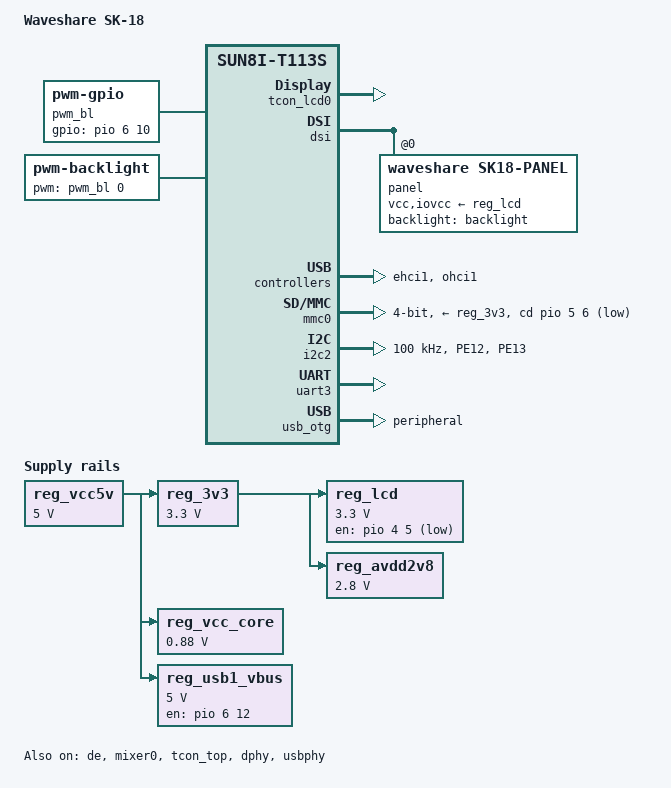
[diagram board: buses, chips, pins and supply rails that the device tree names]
// SPDX-License-Identifier: (GPL-2.0+ OR MIT)
/*
 * Waveshare SK-18 (Allwinner T113-S3, 128 MiB DDR3 in the package, SD card boot).
 *
 * First bring-up version: console, SD card, USB (device port and host port). Display, touch,
 * audio and the rest are added from evidence in later steps.
 *
 * Provenance of each statement:
 *  - UART3 on PB6/PB7 as the console, SD card on mmc0 with card detect PF6 (active low), USB OTG
 *    as peripheral, USB host 1 (ehci1/ohci1): all CONFIRMED by the original board DTB
 *    (docs/phase2-image-analysis.md) and by the vendor boot0 (debug UART port 3).
 *  - The fixed supply rails and the 4-bit SD bus are ASSUMED from the MangoPi MQ-R reference
 *    design that shares the SoC package; the original DTB has no PMIC, only fixed 1.8 V / 3.3 V
 *    rails. They must be checked against the schematic before any voltage is trusted.
 */

/dts-v1/;

#include <dt-bindings/gpio/gpio.h>

/* Buildroot copies this file to arch/arm/boot/dts/; the Allwinner includes live in allwinner/. */
#include "allwinner/sun8i-t113s.dtsi"

/ {
	model = "Waveshare SK-18";
	compatible = "waveshare,sk18", "allwinner,sun8i-t113s";

	aliases {
		serial3 = &uart3;
	};

	chosen {
		stdout-path = "serial3:115200n8";
	};

	/*
	 * Backlight. The original uses hardware PWM channel 3 on PG10 at 1 kHz, but Linux 7.3.1 has no
	 * driver for the T113 PWM block. Interim: a software PWM on the same pin (pwm-gpio, hrtimer).
	 */
	pwm_bl: pwm {
		compatible = "pwm-gpio";
		#pwm-cells = <3>;
		gpios = <&pio 6 10 GPIO_ACTIVE_HIGH>; /* PG10, CONFIRMED by the original DTB (pwm3) */
	};

	backlight: backlight {
		compatible = "pwm-backlight";
		pwms = <&pwm_bl 0 1000000 0>; /* 1 kHz, normal polarity, as the original */
		brightness-levels = <0 255>;
		num-interpolated-steps = <255>;
		default-brightness-level = <128>; /* the original default is 50 % */
	};

	/* ASSUMED: board wide 5 V from the USB-C socket */
	reg_vcc5v: regulator-5v {
		compatible = "regulator-fixed";
		regulator-name = "vcc-5v";
		regulator-min-microvolt = <5000000>;
		regulator-max-microvolt = <5000000>;
		regulator-always-on;
	};

	/* ASSUMED: 3.3 V rail */
	reg_3v3: regulator-3v3 {
		compatible = "regulator-fixed";
		regulator-name = "vcc-3v3";
		regulator-min-microvolt = <3300000>;
		regulator-max-microvolt = <3300000>;
		vin-supply = <&reg_vcc5v>;
	};

	/* ASSUMED: fixed core rail, as on the MQ-R (no PMIC to scale it) */
	reg_vcc_core: regulator-core {
		compatible = "regulator-fixed";
		regulator-name = "vcc-core";
		regulator-min-microvolt = <880000>;
		regulator-max-microvolt = <880000>;
		vin-supply = <&reg_vcc5v>;
	};

	/* ASSUMED: 2.8 V analog rail feeding bank E, as on the MQ-R */
	/*
	 * VBUS of the internal USB host port (ehci1/ohci1) on PG12. CONFIRMED by the stock system: the kernel
	 * claims PG12 as "usb1-vbus", output, high (docs/hardware-status.md). Kept on, as stock does.
	 */
	reg_usb1_vbus: regulator-usb1-vbus {
		compatible = "regulator-fixed";
		regulator-name = "usb1-vbus";
		regulator-min-microvolt = <5000000>;
		regulator-max-microvolt = <5000000>;
		vin-supply = <&reg_vcc5v>;
		gpio = <&pio 6 12 GPIO_ACTIVE_HIGH>;
		enable-active-high;
		regulator-always-on;
	};

	/* Panel power switch on PE5; the pin is LOW while the panel is powered (see the panel node). */
	reg_lcd: regulator-lcd {
		compatible = "regulator-fixed";
		regulator-name = "lcd-power";
		regulator-min-microvolt = <3300000>;
		regulator-max-microvolt = <3300000>;
		vin-supply = <&reg_3v3>;
		gpio = <&pio 4 5 GPIO_ACTIVE_LOW>;
		startup-delay-us = <20000>;
	};

	reg_avdd2v8: regulator-avdd {
		compatible = "regulator-fixed";
		regulator-name = "avdd2v8";
		regulator-min-microvolt = <2800000>;
		regulator-max-microvolt = <2800000>;
		vin-supply = <&reg_3v3>;
	};
};

&cpu0 {
	cpu-supply = <&reg_vcc_core>;
};

&cpu1 {
	cpu-supply = <&reg_vcc_core>;
};

&dcxo {
	clock-frequency = <24000000>;
};

/*
 * Display: mixer -> TCON top -> TCON LCD0 -> MIPI-DSI (2 lanes, video mode) -> panel.
 * All CONFIRMED by the original DTB and vendor driver (docs/phase5-display.md).
 */
&de {
	status = "okay";
};

&mixer0 {
	status = "okay";
};

&tcon_top {
	status = "okay";
};

&tcon_lcd0 {
	status = "okay";
};

&dphy {
	status = "okay";
};

&dsi {
	status = "okay";

	/*
	 * The D-PHY pads are PD0..PD9 in the "dsi" function (mux 4, drive strength 30), as in the
	 * original DTB. The shared dtsi defines the group but no node uses it; without it the pads stay
	 * at their reset state and no DSI signal leaves the chip.
	 */
	pinctrl-names = "default";
	pinctrl-0 = <&dsi_4lane_pins>;

	/*
	 * HX8394-family controller. It needs the initialisation sequence of patches/linux/0001, which the
	 * stock U-Boot sends before the stock kernel starts (so the stock kernel never sends it).
	 * PE5 is the panel power enable, ACTIVE LOW: the register dump of the working stock system shows it
	 * configured as an output and driven low (docs/phase5-display.md), and the vendor DTB gives it flag 1.
	 */
	panel@0 {
		compatible = "waveshare,sk18-panel", "himax,hx8394";
		reg = <0>;
		vcc-supply = <&reg_lcd>;
		iovcc-supply = <&reg_lcd>;
		backlight = <&backlight>;
	};
};

/* USB host port (the Wi-Fi adapter). VBUS control is unknown: treated as always on. */
&ehci1 {
	status = "okay";
};

&mmc0 {
	pinctrl-0 = <&mmc0_pins>;
	pinctrl-names = "default";
	vmmc-supply = <&reg_3v3>;
	cd-gpios = <&pio 5 6 GPIO_ACTIVE_LOW>; /* PF6, CONFIRMED by the original DTB */
	disable-wp;
	bus-width = <4>;
	status = "okay";
};

&ohci1 {
	status = "okay";
};

&pio {
	vcc-pb-supply = <&reg_3v3>;
	vcc-pd-supply = <&reg_3v3>;
	vcc-pe-supply = <&reg_avdd2v8>;
	vcc-pf-supply = <&reg_3v3>;
	vcc-pg-supply = <&reg_3v3>;

	/* I2C2 on PE12 (SCK) / PE13 (SDA), mux 2: CONFIRMED by the stock DTB and the stock register dump. */
	i2c2_pe_pins: i2c2-pe-pins {
		pins = "PE12", "PE13";
		function = "i2c2";
	};
};

/*
 * Touch: a four-wire RESISTIVE panel read by the SoC's own touch-panel ADC (TPADC). CONFIRMED by the stock
 * DTB: node `rtp@2009c00`, compatible `allwinner,sun8i-ts`, enabled, sensitivity 15, filter type 1, and by the
 * stock userspace (tslib with pthres/variance/dejitter/linear filters and a pointercal file). Its inputs are
 * dedicated analog pins, so no GPIO or bus is involved. The driver is patches/linux/0003; mainline's
 * clock controller already provides the TPADC clocks and reset. The node is added here because the shared
 * dtsi has none.
 */
/ {
	soc {
		touchscreen@2009c00 {
			compatible = "allwinner,sun20i-d1-ts";
			reg = <0x2009c00 0x400>;
			interrupts = <SOC_PERIPHERAL_IRQ(62) IRQ_TYPE_LEVEL_HIGH>;
			clocks = <&ccu CLK_BUS_TPADC>, <&ccu CLK_TPADC>;
			clock-names = "bus", "mod";
			resets = <&ccu RST_BUS_TPADC>;
			allwinner,tp-sensitive-adjust = <15>;
			allwinner,filter-type = <1>;
		};
	};
};

/*
 * I2C2 carries an ATSHA204A crypto chip at 0x64 (CONFIRMED by a bus scan on mainline). There is NO Goodix
 * touch controller on it: the stock DTB has a `ctp@14` Goodix node, but it and its parent are
 * status = "disabled", PB6/PB7 (its INT/reset in that node) are the UART3 console pins, a scan of the bus
 * finds only 0x64, and the stock system has no touch GPIO configured. The touch controller is something
 * else (see docs/decision-log.md D-021).
 */
&i2c2 {
	pinctrl-names = "default";
	pinctrl-0 = <&i2c2_pe_pins>;
	clock-frequency = <100000>; /* as the stock DTB */
	status = "okay";
};

&uart3 {
	pinctrl-names = "default";
	pinctrl-0 = <&uart3_pb_pins>;
	status = "okay";
};

/* The USB-C socket goes to the host through an internal hub: the SK-18 is a USB peripheral. */
&usb_otg {
	dr_mode = "peripheral";
	status = "okay";
};

&usbphy {
	usb1_vbus-supply = <&reg_usb1_vbus>;
	status = "okay";
};
